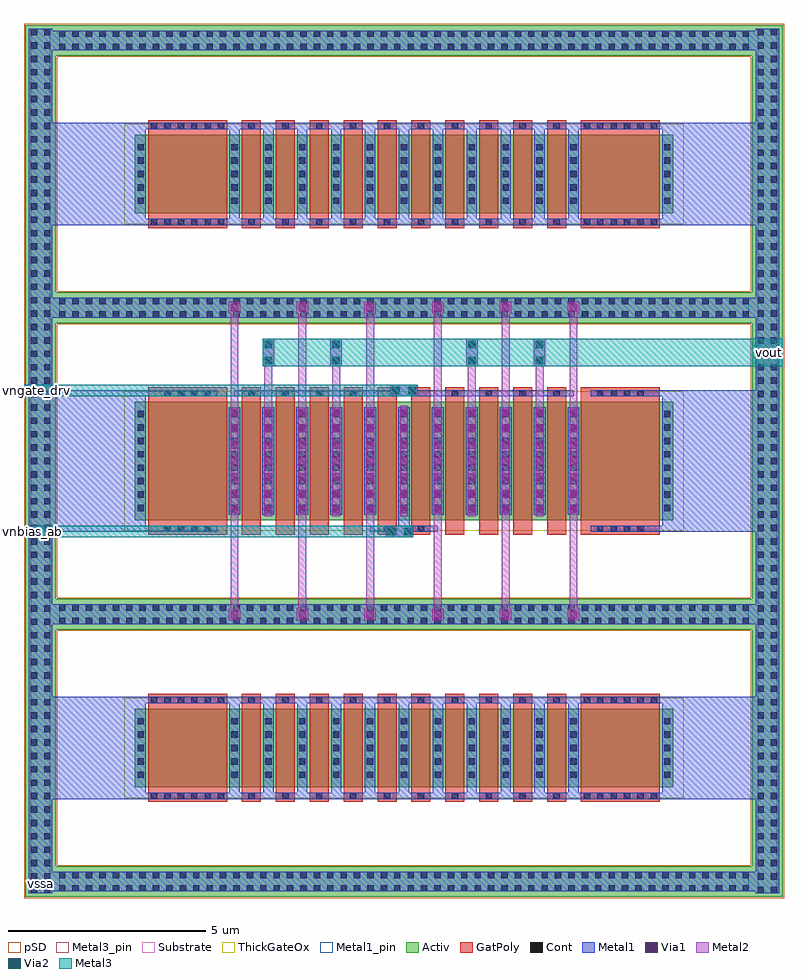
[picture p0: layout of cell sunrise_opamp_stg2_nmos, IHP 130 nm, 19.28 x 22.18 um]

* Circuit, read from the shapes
.subckt sunrise_opamp_stg2_nmos vnbias_ab vngate_drv vout vssa
XM1 vssa vssa vssa vssa sg13_hv_nmos w=2u l=2u m=4
XM2 vssa vssa vssa vssa sg13_hv_nmos w=3u l=2u m=2
XM3 vssa vssa vssa vssa sg13_hv_nmos w=2u l=0.48u m=20
XM4 vout vngate_drv vssa vssa sg13_hv_nmos w=3u l=0.48u m=8
XM5 vnbias_ab vnbias_ab vssa vssa sg13_hv_nmos w=3u l=0.48u m=2
.ends

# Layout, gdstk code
from math import pi, radians
import gdstk
lib = gdstk.Library(unit=1e-6, precision=1e-09)
def R(c, l, rs):  # rectangles x0, y0, x1, y1
    for r in rs: c.add(gdstk.rectangle(r[:2], r[2:], *l))
def A(c, l, x, y, w, h, nx, ny, dx, dy):  # array of equal rectangles
    R(c, l, [(x+i*dx, y+j*dy, x+i*dx+w, y+j*dy+h) for i in range(nx) for j in range(ny)])
Activ = (1, 0)
GatPoly = (5, 0)
Cont = (6, 0)
Metal1 = (8, 0)
Metal1_pin = (8, 2)
Metal2 = (10, 0)
pSD = (14, 0)
Via1 = (19, 0)
Via2 = (29, 0)
Metal3 = (30, 0)
Metal3_pin = (30, 2)
Substrate = (40, 0)
ThickGateOx = (44, 0)

sg13_hv_nmos_r3u99w = lib.new_cell('sg13_hv_nmos_R3U99W')
R(sg13_hv_nmos_r3u99w, Activ, [(-1.01,-1.405,1.01,1.595)])
R(sg13_hv_nmos_r3u99w, GatPoly, [(-0.67,-1.775,-0.19,1.775), (0.19,-1.775,0.67,1.775)])
A(sg13_hv_nmos_r3u99w, Cont, -0.94, -1.175, 0.16, 0.16, 3, 8, 0.86, 0.34)
R(sg13_hv_nmos_r3u99w, Cont, [(-0.51,-1.705,-0.35,-1.545), (0.35,-1.705,0.51,-1.545)])
A(sg13_hv_nmos_r3u99w, Metal1, -1.01, -1.265, 0.3, 2.72, 3, 1, 0.86, 0)
R(sg13_hv_nmos_r3u99w, Metal1, [(-0.86,-1.705,0.86,-1.545)])
A(sg13_hv_nmos_r3u99w, Metal2, -0.96, -1.305, 0.2, 2.8, 3, 1, 0.86, 0)
A(sg13_hv_nmos_r3u99w, Via1, -0.955, -1.23, 0.19, 0.19, 3, 7, 0.86, 0.41)
R(sg13_hv_nmos_r3u99w, ThickGateOx, [(-1.28,-1.675,1.28,1.865)])
sg13_hv_nmos_r3u99w.add(gdstk.Label('D0', (-0.86,0.095), layer=8, texttype=25))
sg13_hv_nmos_r3u99w.add(gdstk.Label('G', (0.43,-1.625), layer=8, texttype=25))
sg13_hv_nmos_r3u99w.add(gdstk.Label('G', (-0.43,-1.625), layer=8, texttype=25))
sg13_hv_nmos_r3u99w.add(gdstk.Label('S1', (0,0.095), layer=8, texttype=25))

sg13_hv_nmos_jvsecg = lib.new_cell('sg13_hv_nmos_JVSECG')
R(sg13_hv_nmos_jvsecg, Activ, [(-1.87,-1.595,1.87,1.405)])
A(sg13_hv_nmos_jvsecg, GatPoly, -1.53, -1.775, 0.48, 3.55, 4, 1, 0.86, 0)
A(sg13_hv_nmos_jvsecg, Cont, -1.8, -1.365, 0.16, 0.16, 5, 8, 0.86, 0.34)
A(sg13_hv_nmos_jvsecg, Cont, -1.37, 1.545, 0.16, 0.16, 4, 1, 0.86, 0)
A(sg13_hv_nmos_jvsecg, Metal1, -1.87, -1.455, 0.3, 2.72, 5, 1, 0.86, 0)
R(sg13_hv_nmos_jvsecg, Metal1, [(-1.72,1.545,1.72,1.705)])
A(sg13_hv_nmos_jvsecg, Metal2, -1.82, -1.495, 0.2, 2.8, 5, 1, 0.86, 0)
A(sg13_hv_nmos_jvsecg, Via1, -1.815, -1.42, 0.19, 0.19, 5, 7, 0.86, 0.41)
R(sg13_hv_nmos_jvsecg, ThickGateOx, [(-2.14,-1.865,2.14,1.675)])
sg13_hv_nmos_jvsecg.add(gdstk.Label('D0', (-1.72,-0.095), layer=8, texttype=25))
sg13_hv_nmos_jvsecg.add(gdstk.Label('G', (1.29,1.625), layer=8, texttype=25))
sg13_hv_nmos_jvsecg.add(gdstk.Label('G', (0.43,1.625), layer=8, texttype=25))
sg13_hv_nmos_jvsecg.add(gdstk.Label('G', (-0.43,1.625), layer=8, texttype=25))
sg13_hv_nmos_jvsecg.add(gdstk.Label('G', (-1.29,1.625), layer=8, texttype=25))
sg13_hv_nmos_jvsecg.add(gdstk.Label('S1', (-0.86,-0.095), layer=8, texttype=25))
sg13_hv_nmos_jvsecg.add(gdstk.Label('D2', (0,-0.095), layer=8, texttype=25))
sg13_hv_nmos_jvsecg.add(gdstk.Label('S3', (0.86,-0.095), layer=8, texttype=25))

sg13_hv_nmos_jvsecg_1 = lib.new_cell('sg13_hv_nmos_JVSECG$1')
R(sg13_hv_nmos_jvsecg_1, Activ, [(-1.87,-1.595,1.87,1.405)])
A(sg13_hv_nmos_jvsecg_1, GatPoly, -1.53, -1.775, 0.48, 3.55, 4, 1, 0.86, 0)
A(sg13_hv_nmos_jvsecg_1, Cont, -1.8, -1.365, 0.16, 0.16, 5, 8, 0.86, 0.34)
A(sg13_hv_nmos_jvsecg_1, Cont, -1.37, 1.545, 0.16, 0.16, 4, 1, 0.86, 0)
A(sg13_hv_nmos_jvsecg_1, Metal1, -1.87, -1.455, 0.3, 2.72, 5, 1, 0.86, 0)
R(sg13_hv_nmos_jvsecg_1, Metal1, [(-1.72,1.545,1.72,1.705)])
A(sg13_hv_nmos_jvsecg_1, Metal2, -1.82, -1.495, 0.2, 2.8, 5, 1, 0.86, 0)
A(sg13_hv_nmos_jvsecg_1, Via1, -1.815, -1.42, 0.19, 0.19, 5, 7, 0.86, 0.41)
R(sg13_hv_nmos_jvsecg_1, ThickGateOx, [(-2.14,-1.865,2.14,1.675)])
sg13_hv_nmos_jvsecg_1.add(gdstk.Label('D0', (-1.72,-0.095), layer=8, texttype=25))
sg13_hv_nmos_jvsecg_1.add(gdstk.Label('G', (1.29,1.625), layer=8, texttype=25))
sg13_hv_nmos_jvsecg_1.add(gdstk.Label('G', (0.43,1.625), layer=8, texttype=25))
sg13_hv_nmos_jvsecg_1.add(gdstk.Label('G', (-0.43,1.625), layer=8, texttype=25))
sg13_hv_nmos_jvsecg_1.add(gdstk.Label('G', (-1.29,1.625), layer=8, texttype=25))
sg13_hv_nmos_jvsecg_1.add(gdstk.Label('S1', (-0.86,-0.095), layer=8, texttype=25))
sg13_hv_nmos_jvsecg_1.add(gdstk.Label('D2', (0,-0.095), layer=8, texttype=25))
sg13_hv_nmos_jvsecg_1.add(gdstk.Label('S3', (0.86,-0.095), layer=8, texttype=25))

sg13_hv_nmos_575xf9 = lib.new_cell('sg13_hv_nmos_575XF9')
R(sg13_hv_nmos_575xf9, Activ, [(-1.34,-1.5,1.34,1.5)])
R(sg13_hv_nmos_575xf9, GatPoly, [(-1,-1.87,1,1.87)])
A(sg13_hv_nmos_575xf9, Cont, -0.59, -1.8, 0.16, 0.16, 4, 2, 0.34, 3.44)
A(sg13_hv_nmos_575xf9, Cont, -1.27, -1.27, 0.16, 0.16, 1, 8, 0, 0.34)
A(sg13_hv_nmos_575xf9, Cont, 1.11, -1.27, 0.16, 0.16, 1, 8, 0, 0.34)
R(sg13_hv_nmos_575xf9, Metal1, [(-0.75,-1.8,0.75,-1.64), (-1.32,-1.36,-1.06,1.36), (1.06,-1.36,1.32,1.36), (-0.75,1.64,0.75,1.8)])
R(sg13_hv_nmos_575xf9, ThickGateOx, [(-1.61,-1.77,1.61,1.77)])
sg13_hv_nmos_575xf9.add(gdstk.Label('D', (-1.19,0), layer=8, texttype=25))
sg13_hv_nmos_575xf9.add(gdstk.Label('S', (1.19,0), layer=8, texttype=25))
sg13_hv_nmos_575xf9.add(gdstk.Label('G', (0,1.72), layer=8, texttype=25))

sg13_hv_nmos_575xf9_1 = lib.new_cell('sg13_hv_nmos_575XF9$1')
R(sg13_hv_nmos_575xf9_1, Activ, [(-1.34,-1.5,1.34,1.5)])
R(sg13_hv_nmos_575xf9_1, GatPoly, [(-1,-1.87,1,1.87)])
A(sg13_hv_nmos_575xf9_1, Cont, -0.59, -1.8, 0.16, 0.16, 4, 2, 0.34, 3.44)
A(sg13_hv_nmos_575xf9_1, Cont, -1.27, -1.27, 0.16, 0.16, 1, 8, 0, 0.34)
A(sg13_hv_nmos_575xf9_1, Cont, 1.11, -1.27, 0.16, 0.16, 1, 8, 0, 0.34)
R(sg13_hv_nmos_575xf9_1, Metal1, [(-0.75,-1.8,0.75,-1.64), (-1.32,-1.36,-1.06,1.36), (1.06,-1.36,1.32,1.36), (-0.75,1.64,0.75,1.8)])
R(sg13_hv_nmos_575xf9_1, ThickGateOx, [(-1.61,-1.77,1.61,1.77)])
sg13_hv_nmos_575xf9_1.add(gdstk.Label('D', (-1.19,0), layer=8, texttype=25))
sg13_hv_nmos_575xf9_1.add(gdstk.Label('S', (1.19,0), layer=8, texttype=25))
sg13_hv_nmos_575xf9_1.add(gdstk.Label('G', (0,1.72), layer=8, texttype=25))

ptap1 = lib.new_cell('ptap1')
R(ptap1, Activ, [(0,0,0.78,17.66)])
A(ptap1, Cont, 0.14, 0.08, 0.16, 0.16, 1, 52, 0, 0.34)
A(ptap1, Cont, 0.48, 0.08, 0.16, 0.16, 1, 52, 0, 0.34)
R(ptap1, Metal1, [(0.14,0.03,0.64,17.63), (0.14,0.08,0.64,17.58)])
R(ptap1, Metal1_pin, [(0.14,0.08,0.64,17.58)])
R(ptap1, pSD, [(-0.03,-0.03,0.81,17.69)])
R(ptap1, Substrate, [(0,0,0.78,17.66)])
ptap1.add(gdstk.Label('sub!', (0.39,0.01), layer=63, texttype=0))
ptap1.add(gdstk.Label('sub!', (0.39,0.01), layer=40, texttype=0))

sg13_hv_nmos_2ph8bk = lib.new_cell('sg13_hv_nmos_2PH8BK')
R(sg13_hv_nmos_2ph8bk, Activ, [(-4.45,-1,4.45,1)])
A(sg13_hv_nmos_2ph8bk, GatPoly, -4.11, -1.37, 0.48, 2.74, 10, 1, 0.86, 0)
A(sg13_hv_nmos_2ph8bk, Cont, -3.95, -1.3, 0.16, 0.16, 10, 2, 0.86, 2.44)
A(sg13_hv_nmos_2ph8bk, Cont, -4.38, -0.76, 0.16, 0.16, 11, 5, 0.86, 0.34)
A(sg13_hv_nmos_2ph8bk, Metal1, -4.43, -0.885, 0.26, 1.77, 11, 1, 0.86, 0)
R(sg13_hv_nmos_2ph8bk, Metal1, [(-4.3,-1.3,4.3,-1.14), (-4.3,1.14,4.3,1.3)])
R(sg13_hv_nmos_2ph8bk, ThickGateOx, [(-4.72,-1.27,4.72,1.27)])
sg13_hv_nmos_2ph8bk.add(gdstk.Label('D0', (-4.3,0), layer=8, texttype=25))
sg13_hv_nmos_2ph8bk.add(gdstk.Label('G', (3.87,1.22), layer=8, texttype=25))
sg13_hv_nmos_2ph8bk.add(gdstk.Label('G', (3.01,1.22), layer=8, texttype=25))
sg13_hv_nmos_2ph8bk.add(gdstk.Label('G', (2.15,1.22), layer=8, texttype=25))
sg13_hv_nmos_2ph8bk.add(gdstk.Label('G', (1.29,1.22), layer=8, texttype=25))
sg13_hv_nmos_2ph8bk.add(gdstk.Label('G', (0.43,1.22), layer=8, texttype=25))
sg13_hv_nmos_2ph8bk.add(gdstk.Label('G', (-0.43,1.22), layer=8, texttype=25))
sg13_hv_nmos_2ph8bk.add(gdstk.Label('G', (-1.29,1.22), layer=8, texttype=25))
sg13_hv_nmos_2ph8bk.add(gdstk.Label('G', (-2.15,1.22), layer=8, texttype=25))
sg13_hv_nmos_2ph8bk.add(gdstk.Label('G', (-3.01,1.22), layer=8, texttype=25))
sg13_hv_nmos_2ph8bk.add(gdstk.Label('G', (-3.87,1.22), layer=8, texttype=25))
sg13_hv_nmos_2ph8bk.add(gdstk.Label('S1', (-3.44,0), layer=8, texttype=25))
sg13_hv_nmos_2ph8bk.add(gdstk.Label('D2', (-2.58,0), layer=8, texttype=25))
sg13_hv_nmos_2ph8bk.add(gdstk.Label('S3', (-1.72,0), layer=8, texttype=25))
sg13_hv_nmos_2ph8bk.add(gdstk.Label('D4', (-0.86,0), layer=8, texttype=25))
sg13_hv_nmos_2ph8bk.add(gdstk.Label('S5', (0,0), layer=8, texttype=25))
sg13_hv_nmos_2ph8bk.add(gdstk.Label('D6', (0.86,0), layer=8, texttype=25))
sg13_hv_nmos_2ph8bk.add(gdstk.Label('S7', (1.72,0), layer=8, texttype=25))
sg13_hv_nmos_2ph8bk.add(gdstk.Label('D8', (2.58,0), layer=8, texttype=25))
sg13_hv_nmos_2ph8bk.add(gdstk.Label('S9', (3.44,0), layer=8, texttype=25))

sg13_hv_nmos_azjvcd = lib.new_cell('sg13_hv_nmos_AZJVCD')
R(sg13_hv_nmos_azjvcd, Activ, [(-1.34,-1,1.34,1)])
R(sg13_hv_nmos_azjvcd, GatPoly, [(-1,-1.37,1,1.37)])
A(sg13_hv_nmos_azjvcd, Cont, -0.93, -1.3, 0.16, 0.16, 6, 2, 0.34, 2.44)
A(sg13_hv_nmos_azjvcd, Cont, -1.27, -0.76, 0.16, 0.16, 1, 5, 0, 0.34)
A(sg13_hv_nmos_azjvcd, Cont, 1.11, -0.76, 0.16, 0.16, 1, 5, 0, 0.34)
R(sg13_hv_nmos_azjvcd, Metal1, [(-1.19,-1.3,1.19,-1.14), (-1.32,-0.885,-1.06,0.885), (1.06,-0.885,1.32,0.885), (-1.19,1.14,1.19,1.3)])
R(sg13_hv_nmos_azjvcd, ThickGateOx, [(-1.61,-1.27,1.61,1.27)])
sg13_hv_nmos_azjvcd.add(gdstk.Label('D', (-1.19,0), layer=8, texttype=25))
sg13_hv_nmos_azjvcd.add(gdstk.Label('S', (1.19,0), layer=8, texttype=25))
sg13_hv_nmos_azjvcd.add(gdstk.Label('G', (0,1.22), layer=8, texttype=25))

sg13_hv_nmos_azjvcd_1 = lib.new_cell('sg13_hv_nmos_AZJVCD$1')
R(sg13_hv_nmos_azjvcd_1, Activ, [(-1.34,-1,1.34,1)])
R(sg13_hv_nmos_azjvcd_1, GatPoly, [(-1,-1.37,1,1.37)])
A(sg13_hv_nmos_azjvcd_1, Cont, -0.93, -1.3, 0.16, 0.16, 6, 2, 0.34, 2.44)
A(sg13_hv_nmos_azjvcd_1, Cont, -1.27, -0.76, 0.16, 0.16, 1, 5, 0, 0.34)
A(sg13_hv_nmos_azjvcd_1, Cont, 1.11, -0.76, 0.16, 0.16, 1, 5, 0, 0.34)
R(sg13_hv_nmos_azjvcd_1, Metal1, [(-1.19,-1.3,1.19,-1.14), (-1.32,-0.885,-1.06,0.885), (1.06,-0.885,1.32,0.885), (-1.19,1.14,1.19,1.3)])
R(sg13_hv_nmos_azjvcd_1, ThickGateOx, [(-1.61,-1.27,1.61,1.27)])
sg13_hv_nmos_azjvcd_1.add(gdstk.Label('D', (-1.19,0), layer=8, texttype=25))
sg13_hv_nmos_azjvcd_1.add(gdstk.Label('S', (1.19,0), layer=8, texttype=25))
sg13_hv_nmos_azjvcd_1.add(gdstk.Label('G', (0,1.22), layer=8, texttype=25))

sg13_hv_nmos_2ph8bk_1 = lib.new_cell('sg13_hv_nmos_2PH8BK$1')
R(sg13_hv_nmos_2ph8bk_1, Activ, [(-4.45,-1,4.45,1)])
A(sg13_hv_nmos_2ph8bk_1, GatPoly, -4.11, -1.37, 0.48, 2.74, 10, 1, 0.86, 0)
A(sg13_hv_nmos_2ph8bk_1, Cont, -3.95, -1.3, 0.16, 0.16, 10, 2, 0.86, 2.44)
A(sg13_hv_nmos_2ph8bk_1, Cont, -4.38, -0.76, 0.16, 0.16, 11, 5, 0.86, 0.34)
A(sg13_hv_nmos_2ph8bk_1, Metal1, -4.43, -0.885, 0.26, 1.77, 11, 1, 0.86, 0)
R(sg13_hv_nmos_2ph8bk_1, Metal1, [(-4.3,-1.3,4.3,-1.14), (-4.3,1.14,4.3,1.3)])
R(sg13_hv_nmos_2ph8bk_1, ThickGateOx, [(-4.72,-1.27,4.72,1.27)])
sg13_hv_nmos_2ph8bk_1.add(gdstk.Label('D0', (-4.3,0), layer=8, texttype=25))
sg13_hv_nmos_2ph8bk_1.add(gdstk.Label('G', (3.87,1.22), layer=8, texttype=25))
sg13_hv_nmos_2ph8bk_1.add(gdstk.Label('G', (3.01,1.22), layer=8, texttype=25))
sg13_hv_nmos_2ph8bk_1.add(gdstk.Label('G', (2.15,1.22), layer=8, texttype=25))
sg13_hv_nmos_2ph8bk_1.add(gdstk.Label('G', (1.29,1.22), layer=8, texttype=25))
sg13_hv_nmos_2ph8bk_1.add(gdstk.Label('G', (0.43,1.22), layer=8, texttype=25))
sg13_hv_nmos_2ph8bk_1.add(gdstk.Label('G', (-0.43,1.22), layer=8, texttype=25))
sg13_hv_nmos_2ph8bk_1.add(gdstk.Label('G', (-1.29,1.22), layer=8, texttype=25))
sg13_hv_nmos_2ph8bk_1.add(gdstk.Label('G', (-2.15,1.22), layer=8, texttype=25))
sg13_hv_nmos_2ph8bk_1.add(gdstk.Label('G', (-3.01,1.22), layer=8, texttype=25))
sg13_hv_nmos_2ph8bk_1.add(gdstk.Label('G', (-3.87,1.22), layer=8, texttype=25))
sg13_hv_nmos_2ph8bk_1.add(gdstk.Label('S1', (-3.44,0), layer=8, texttype=25))
sg13_hv_nmos_2ph8bk_1.add(gdstk.Label('D2', (-2.58,0), layer=8, texttype=25))
sg13_hv_nmos_2ph8bk_1.add(gdstk.Label('S3', (-1.72,0), layer=8, texttype=25))
sg13_hv_nmos_2ph8bk_1.add(gdstk.Label('D4', (-0.86,0), layer=8, texttype=25))
sg13_hv_nmos_2ph8bk_1.add(gdstk.Label('S5', (0,0), layer=8, texttype=25))
sg13_hv_nmos_2ph8bk_1.add(gdstk.Label('D6', (0.86,0), layer=8, texttype=25))
sg13_hv_nmos_2ph8bk_1.add(gdstk.Label('S7', (1.72,0), layer=8, texttype=25))
sg13_hv_nmos_2ph8bk_1.add(gdstk.Label('D8', (2.58,0), layer=8, texttype=25))
sg13_hv_nmos_2ph8bk_1.add(gdstk.Label('S9', (3.44,0), layer=8, texttype=25))

sg13_hv_nmos_azjvcd_2 = lib.new_cell('sg13_hv_nmos_AZJVCD$2')
R(sg13_hv_nmos_azjvcd_2, Activ, [(-1.34,-1,1.34,1)])
R(sg13_hv_nmos_azjvcd_2, GatPoly, [(-1,-1.37,1,1.37)])
A(sg13_hv_nmos_azjvcd_2, Cont, -0.93, -1.3, 0.16, 0.16, 6, 2, 0.34, 2.44)
A(sg13_hv_nmos_azjvcd_2, Cont, -1.27, -0.76, 0.16, 0.16, 1, 5, 0, 0.34)
A(sg13_hv_nmos_azjvcd_2, Cont, 1.11, -0.76, 0.16, 0.16, 1, 5, 0, 0.34)
R(sg13_hv_nmos_azjvcd_2, Metal1, [(-1.19,-1.3,1.19,-1.14), (-1.32,-0.885,-1.06,0.885), (1.06,-0.885,1.32,0.885), (-1.19,1.14,1.19,1.3)])
R(sg13_hv_nmos_azjvcd_2, ThickGateOx, [(-1.61,-1.27,1.61,1.27)])
sg13_hv_nmos_azjvcd_2.add(gdstk.Label('D', (-1.19,0), layer=8, texttype=25))
sg13_hv_nmos_azjvcd_2.add(gdstk.Label('S', (1.19,0), layer=8, texttype=25))
sg13_hv_nmos_azjvcd_2.add(gdstk.Label('G', (0,1.22), layer=8, texttype=25))

sg13_hv_nmos_azjvcd_1_1 = lib.new_cell('sg13_hv_nmos_AZJVCD$1$1')
R(sg13_hv_nmos_azjvcd_1_1, Activ, [(-1.34,-1,1.34,1)])
R(sg13_hv_nmos_azjvcd_1_1, GatPoly, [(-1,-1.37,1,1.37)])
A(sg13_hv_nmos_azjvcd_1_1, Cont, -0.93, -1.3, 0.16, 0.16, 6, 2, 0.34, 2.44)
A(sg13_hv_nmos_azjvcd_1_1, Cont, -1.27, -0.76, 0.16, 0.16, 1, 5, 0, 0.34)
A(sg13_hv_nmos_azjvcd_1_1, Cont, 1.11, -0.76, 0.16, 0.16, 1, 5, 0, 0.34)
R(sg13_hv_nmos_azjvcd_1_1, Metal1, [(-1.19,-1.3,1.19,-1.14), (-1.32,-0.885,-1.06,0.885), (1.06,-0.885,1.32,0.885), (-1.19,1.14,1.19,1.3)])
R(sg13_hv_nmos_azjvcd_1_1, ThickGateOx, [(-1.61,-1.27,1.61,1.27)])
sg13_hv_nmos_azjvcd_1_1.add(gdstk.Label('D', (-1.19,0), layer=8, texttype=25))
sg13_hv_nmos_azjvcd_1_1.add(gdstk.Label('S', (1.19,0), layer=8, texttype=25))
sg13_hv_nmos_azjvcd_1_1.add(gdstk.Label('G', (0,1.22), layer=8, texttype=25))

ptap1_2 = lib.new_cell('ptap1$2')
R(ptap1_2, Activ, [(0,0,22.12,0.78)])
A(ptap1_2, Cont, 0.1, 0.14, 0.16, 0.16, 65, 2, 0.34, 0.34)
R(ptap1_2, Metal1, [(0.1,0.09,22.02,0.69), (0.1,0.14,22.02,0.64)])
R(ptap1_2, Metal1_pin, [(0.1,0.14,22.02,0.64)])
R(ptap1_2, pSD, [(-0.03,-0.03,22.15,0.81)])
R(ptap1_2, Substrate, [(0,0,22.12,0.78)])
ptap1_2.add(gdstk.Label('sub!', (11.06,0.01), layer=63, texttype=0))
ptap1_2.add(gdstk.Label('sub!', (11.06,0.01), layer=40, texttype=0))

via_stack_2 = lib.new_cell('via_stack$2')
R(via_stack_2, Metal1, [(-0.145,-0.35,0.145,0.35)])
R(via_stack_2, Metal2, [(-0.145,-0.35,0.145,0.35)])
R(via_stack_2, Via1, [(-0.095,-0.3,0.095,-0.11), (-0.095,0.11,0.095,0.3)])
R(via_stack_2, Via2, [(-0.095,-0.3,0.095,-0.11), (-0.095,0.11,0.095,0.3)])
R(via_stack_2, Metal3, [(-0.145,-0.35,0.145,0.35)])

via_stack_3 = lib.new_cell('via_stack$3')
R(via_stack_3, Metal1, [(-0.145,-0.145,0.145,0.145)])
R(via_stack_3, Metal2, [(-0.145,-0.145,0.145,0.145)])
R(via_stack_3, Via1, [(-0.095,-0.095,0.095,0.095)])

via_stack_4 = lib.new_cell('via_stack$4')
R(via_stack_4, Metal1, [(-0.35,-0.145,0.35,0.145)])
R(via_stack_4, Metal2, [(-0.35,-0.145,0.35,0.145)])
R(via_stack_4, Via1, [(-0.3,-0.095,-0.11,0.095), (0.11,-0.095,0.3,0.095)])
R(via_stack_4, Via2, [(-0.3,-0.095,-0.11,0.095), (0.11,-0.095,0.3,0.095)])
R(via_stack_4, Metal3, [(-0.35,-0.145,0.35,0.145)])

sunrise_opamp_stg2_nmos = lib.new_cell('sunrise_opamp_stg2_nmos')
A(sunrise_opamp_stg2_nmos, GatPoly, -2.83, 0, 0.48, 0.19, 4, 1, 0.86, 0)
A(sunrise_opamp_stg2_nmos, GatPoly, 2.33, 0, 0.48, 0.19, 4, 1, 0.86, 0)
R(sunrise_opamp_stg2_nmos, GatPoly, [(0.61,3.55,1.09,3.74), (1.47,3.55,1.95,3.74)])
A(sunrise_opamp_stg2_nmos, Metal1, -3.15, -6.55, 0.26, 0.255, 11, 2, 0.86, 2.025)
A(sunrise_opamp_stg2_nmos, Metal1, -3.15, 8.01, 0.26, 0.255, 11, 2, 0.86, 2.025)
R(sunrise_opamp_stg2_nmos, Metal1, [(-7.64,-9.05,-7.52,-8.55), (10.08,-9.05,10.2,-8.55), (-7.64,-6.71,-5.53,-4.11), (-5.53,-6.71,-5.4,-6.55), (7.96,-6.71,8.09,-6.55), (8.09,-6.71,10.2,-4.11), (-5.53,-6.55,-5.27,-6.295), (7.83,-6.55,8.09,-6.295), (-5.53,-4.525,-5.27,-4.27), (7.83,-4.525,8.09,-4.27), (-5.53,-4.27,-5.4,-4.11), (7.96,-4.27,8.09,-4.11), (-7.64,-2.27,-7.52,-1.77), (10.08,-2.27,10.2,-1.77), (-7.64,0.07,-5.53,3.67), (-5.53,0.07,-5.27,0.51), (-5.27,0.07,-4.96,0.23), (7.52,0.07,7.83,0.23), (7.83,0.07,8.09,0.51), (8.09,0.07,10.2,3.67), (1.13,0.23,1.43,0.51), (-5.53,3.23,-5.27,3.67), (7.83,3.23,8.09,3.67), (-5.27,3.51,-4.96,3.67), (7.52,3.51,7.83,3.67), (-7.64,5.51,-7.52,6.01), (10.08,5.51,10.2,6.01), (-7.64,7.85,-5.53,10.45), (-5.53,7.85,-5.4,8.01), (7.96,7.85,8.09,8.01), (8.09,7.85,10.2,10.45), (-5.53,8.01,-5.27,8.265), (7.83,8.01,8.09,8.265), (-5.53,10.035,-5.27,10.29), (7.83,10.035,8.09,10.29), (-5.53,10.29,-5.4,10.45), (7.96,10.29,8.09,10.45), (-7.64,12.29,-7.52,12.79), (10.08,12.29,10.2,12.79)])
R(sunrise_opamp_stg2_nmos, Metal1_pin, [(-8.19,-9.09,-7.69,-8.59)])
R(sunrise_opamp_stg2_nmos, Metal3_pin, [(-8.36,-0.06,-8.07,0.23), (-8.36,3.51,-8.07,3.8), (10.19,4.27,10.89,4.97)])
sunrise_opamp_stg2_nmos.add(gdstk.FlexPath([(0.42,3.59),(2.14,3.59)], 0.16, ends="flush", simple_path=True, layer=8, datatype=0))  # Metal1
sunrise_opamp_stg2_nmos.add(gdstk.FlexPath([(-2.16,3.27),(-2.16,4.27)], 0.2, ends="flush", simple_path=True, layer=10, datatype=0))  # Metal2
sunrise_opamp_stg2_nmos.add(gdstk.FlexPath([(-0.44,3.27),(-0.44,4.27)], 0.2, ends="flush", simple_path=True, layer=10, datatype=0))  # Metal2
sunrise_opamp_stg2_nmos.add(gdstk.FlexPath([(3,3.27),(3,4.27)], 0.2, ends="flush", simple_path=True, layer=10, datatype=0))  # Metal2
sunrise_opamp_stg2_nmos.add(gdstk.FlexPath([(4.72,3.27),(4.72,4.27)], 0.2, ends="flush", simple_path=True, layer=10, datatype=0))  # Metal2
sunrise_opamp_stg2_nmos.add(gdstk.FlexPath([(-3.02,5.76),(-3.02,-2.02)], 0.2, ends="flush", simple_path=True, layer=10, datatype=0))  # Metal2
sunrise_opamp_stg2_nmos.add(gdstk.FlexPath([(-1.3,5.76),(-1.3,-2.02)], 0.2, ends="flush", simple_path=True, layer=10, datatype=0))  # Metal2
sunrise_opamp_stg2_nmos.add(gdstk.FlexPath([(0.42,5.76),(0.42,-2.02)], 0.2, ends="flush", simple_path=True, layer=10, datatype=0))  # Metal2
sunrise_opamp_stg2_nmos.add(gdstk.FlexPath([(2.14,5.76),(2.14,-2.02)], 0.2, ends="flush", simple_path=True, layer=10, datatype=0))  # Metal2
sunrise_opamp_stg2_nmos.add(gdstk.FlexPath([(3.86,5.76),(3.86,-2.02)], 0.2, ends="flush", simple_path=True, layer=10, datatype=0))  # Metal2
sunrise_opamp_stg2_nmos.add(gdstk.FlexPath([(5.58,5.76),(5.58,-2.02)], 0.2, ends="flush", simple_path=True, layer=10, datatype=0))  # Metal2
sunrise_opamp_stg2_nmos.add(gdstk.FlexPath([(1.63,3.655),(-8.36,3.655)], 0.29, ends="flush", simple_path=True, layer=30, datatype=0))  # Metal3
sunrise_opamp_stg2_nmos.add(gdstk.FlexPath([(1.52,0.085),(-8.36,0.085)], 0.29, ends="flush", simple_path=True, layer=30, datatype=0))  # Metal3
sunrise_opamp_stg2_nmos.add(gdstk.FlexPath([(-2.305,4.62),(10.89,4.62)], 0.7, ends="flush", simple_path=True, layer=30, datatype=0))  # Metal3
sunrise_opamp_stg2_nmos.add(gdstk.Reference(sg13_hv_nmos_r3u99w, (1.28,1.775)))
sunrise_opamp_stg2_nmos.add(gdstk.Reference(sg13_hv_nmos_jvsecg, (3.86,1.965)))
sunrise_opamp_stg2_nmos.add(gdstk.Reference(sg13_hv_nmos_jvsecg_1, (-1.3,1.965)))
sunrise_opamp_stg2_nmos.add(gdstk.Reference(sg13_hv_nmos_575xf9, (-4.21,1.87)))
sunrise_opamp_stg2_nmos.add(gdstk.Reference(sg13_hv_nmos_575xf9_1, (6.77,1.87)))
sunrise_opamp_stg2_nmos.add(gdstk.Reference(ptap1, (10.11,5.37), rotation=pi/2))
sunrise_opamp_stg2_nmos.add(gdstk.Reference(ptap1, (10.11,-2.41), rotation=pi/2))
sunrise_opamp_stg2_nmos.add(gdstk.Reference(sg13_hv_nmos_2ph8bk, (1.28,9.15)))
sunrise_opamp_stg2_nmos.add(gdstk.Reference(sg13_hv_nmos_azjvcd, (-4.21,9.15)))
sunrise_opamp_stg2_nmos.add(gdstk.Reference(sg13_hv_nmos_azjvcd_1, (6.77,9.15)))
sunrise_opamp_stg2_nmos.add(gdstk.Reference(ptap1, (10.11,12.15), rotation=pi/2))
sunrise_opamp_stg2_nmos.add(gdstk.Reference(sg13_hv_nmos_2ph8bk_1, (1.28,-5.41), x_reflection=True))
sunrise_opamp_stg2_nmos.add(gdstk.Reference(sg13_hv_nmos_azjvcd_2, (-4.21,-5.41), x_reflection=True))
sunrise_opamp_stg2_nmos.add(gdstk.Reference(sg13_hv_nmos_azjvcd_1_1, (6.77,-5.41), x_reflection=True))
sunrise_opamp_stg2_nmos.add(gdstk.Reference(ptap1, (10.11,-8.41), rotation=3*pi/2, x_reflection=True))
sunrise_opamp_stg2_nmos.add(gdstk.Reference(ptap1_2, (-7.55,-9.19), rotation=pi/2))
sunrise_opamp_stg2_nmos.add(gdstk.Reference(ptap1_2, (10.89,-9.19), rotation=pi/2))
sunrise_opamp_stg2_nmos.add(gdstk.Reference(via_stack_2, (1.28,3.655), rotation=pi/2))
sunrise_opamp_stg2_nmos.add(gdstk.Reference(via_stack_2, (1.17,0.085), rotation=pi/2))
sunrise_opamp_stg2_nmos.add(gdstk.Reference(via_stack_3, (-3.02,5.76), rotation=pi/2))
sunrise_opamp_stg2_nmos.add(gdstk.Reference(via_stack_3, (-1.3,5.76), rotation=pi/2))
sunrise_opamp_stg2_nmos.add(gdstk.Reference(via_stack_3, (0.42,5.76), rotation=pi/2))
sunrise_opamp_stg2_nmos.add(gdstk.Reference(via_stack_3, (2.14,5.76), rotation=pi/2))
sunrise_opamp_stg2_nmos.add(gdstk.Reference(via_stack_3, (3.86,5.76), rotation=pi/2))
sunrise_opamp_stg2_nmos.add(gdstk.Reference(via_stack_3, (5.58,5.76), rotation=pi/2))
sunrise_opamp_stg2_nmos.add(gdstk.Reference(via_stack_3, (-3.02,-2.02), rotation=pi/2))
sunrise_opamp_stg2_nmos.add(gdstk.Reference(via_stack_3, (-1.3,-2.02), rotation=pi/2))
sunrise_opamp_stg2_nmos.add(gdstk.Reference(via_stack_3, (0.42,-2.02), rotation=pi/2))
sunrise_opamp_stg2_nmos.add(gdstk.Reference(via_stack_3, (2.14,-2.02), rotation=pi/2))
sunrise_opamp_stg2_nmos.add(gdstk.Reference(via_stack_3, (3.86,-2.02), rotation=pi/2))
sunrise_opamp_stg2_nmos.add(gdstk.Reference(via_stack_3, (5.58,-2.02), rotation=pi/2))
sunrise_opamp_stg2_nmos.add(gdstk.Reference(via_stack_4, (-2.16,4.62), rotation=pi/2))
sunrise_opamp_stg2_nmos.add(gdstk.Reference(via_stack_4, (-0.44,4.62), rotation=pi/2))
sunrise_opamp_stg2_nmos.add(gdstk.Reference(via_stack_4, (3,4.62), rotation=pi/2))
sunrise_opamp_stg2_nmos.add(gdstk.Reference(via_stack_4, (4.72,4.62), rotation=pi/2))
sunrise_opamp_stg2_nmos.add(gdstk.Label('vssa', (-7.94,-8.84), layer=8, texttype=25))
sunrise_opamp_stg2_nmos.add(gdstk.Label('vngate_drv', (-8.215,3.655), layer=30, texttype=25))
sunrise_opamp_stg2_nmos.add(gdstk.Label('vnbias_ab', (-8.215,0.085), layer=30, texttype=25))
sunrise_opamp_stg2_nmos.add(gdstk.Label('vout', (10.54,4.62), layer=30, texttype=25))

lib.write_gds('sunrise_opamp_stg2_nmos.gds')
